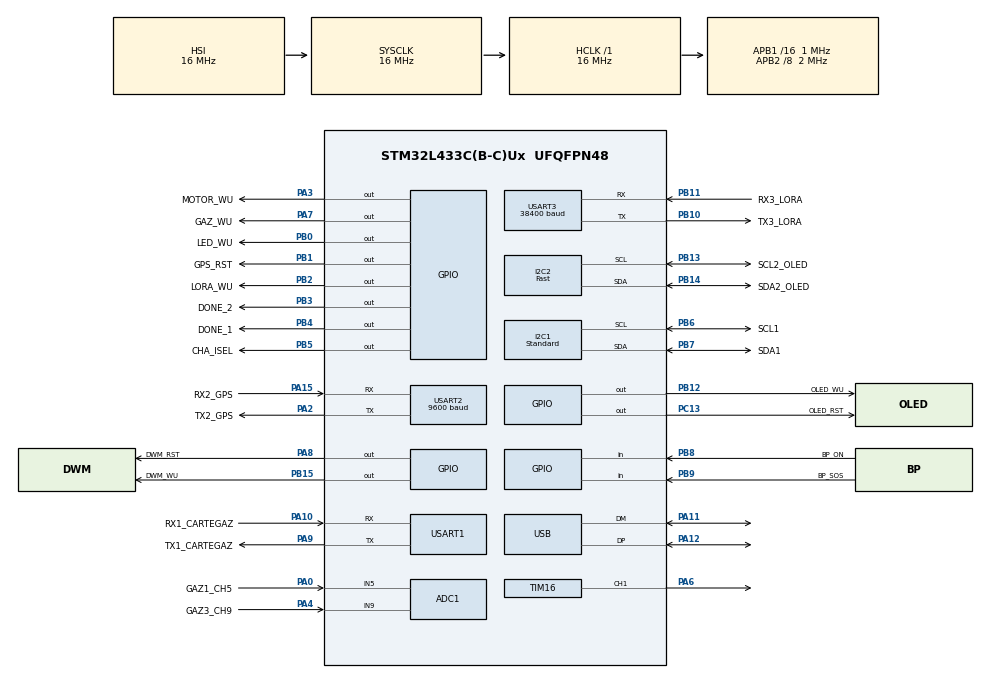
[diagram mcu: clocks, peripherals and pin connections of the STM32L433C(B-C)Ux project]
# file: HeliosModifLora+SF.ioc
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I2C1.I2C_Speed_Mode=I2C_Standard
PB10.Mode=Asynchronous
PB14.GPIO_Label=SDA2_OLED
PB6.GPIO_Label=SCL1
PA15\ (JTDI).Signal=USART2_RX
PC15-OSC32_OUT\ (PC15).Mode=LSE-External-Oscillator
PB13.Signal=I2C2_SCL
RCC.SYSCLKSource=RCC_SYSCLKSOURCE_HSI
PC14-OSC32_IN\ (PC14).Mode=LSE-External-Oscillator
NVIC.DMA1_Channel3_IRQn=true\:0\:0\:false\:false\:true\:false\:true
USART3.VirtualMode-Asynchronous=VM_ASYNC
PA14\ (JTCK-SWCLK).Signal=SYS_JTCK-SWCLK
PA15\ (JTDI).Mode=Asynchronous
USART3.BaudRate=38400
I2C2.I2C_Speed_Mode=I2C_Fast
RCC.APB2TimFreq_Value=4000000
PB6.Signal=I2C1_SCL
PB12.PinState=GPIO_PIN_SET
PB6.Mode=I2C
Dma.USART2_RX.2.Priority=DMA_PRIORITY_LOW
Dma.USART1_RX.1.PeriphDataAlignment=DMA_PDATAALIGN_BYTE
PB2.Signal=GPIO_Output
PB12.GPIO_Label=OLED_WU
PB14.Mode=I2C
PB1.GPIO_Label=GPS_RST
PA8.Signal=GPIO_Output
PA8.GPIO_ModeDefaultOutputPP=GPIO_MODE_OUTPUT_PP
PB2.GPIO_PuPd=GPIO_PULLDOWN
ADC1.SamplingTime-0\#ChannelRegularConversion=ADC_SAMPLETIME_247CYCLES_5
TIM16.Pulse=5
PA0.Signal=ADCx_IN5
Dma.USART1_RX.1.Mode=DMA_CIRCULAR
Mcu.Package=UFQFPN48
PB9.Signal=GPIO_Input
PB1.Signal=GPIO_Output
PA10.Signal=USART1_RX
PB9.GPIO_PuPd=GPIO_PULLUP
Dma.USART2_RX.2.Direction=DMA_PERIPH_TO_MEMORY
SH.ADCx_IN9.0=ADC1_IN9,IN9-Single-Ended
Dma.USART1_RX.1.PeriphInc=DMA_PINC_DISABLE
PB5.GPIO_Speed=GPIO_SPEED_FREQ_HIGH
RCC.APB2CLKDivider=RCC_HCLK_DIV8
RCC.APB1TimFreq_Value=2000000
PB13.Mode=I2C
TIM16.Prescaler=100-1
PA13\ (JTMS-SWDIO).Signal=SYS_JTMS-SWDIO
NVIC.USART1_IRQn=true\:3\:0\:true\:false\:true\:true\:true
PH0-OSC_IN\ (PH0).Mode=HSE-External-Oscillator
PA4.GPIO_Label=GAZ3_CH9
RCC.HSI48_VALUE=48000000
Dma.USART3_RX.0.Instance=DMA1_Channel3
NVIC.DMA1_Channel6_IRQn=true\:0\:0\:false\:false\:true\:false\:true
Dma.USART1_RX.1.Instance=DMA1_Channel5
Dma.USART1_RX.1.MemDataAlignment=DMA_MDATAALIGN_BYTE
ADC1.Rank-0\#ChannelRegularConversion=1
ADC1.OffsetNumber-0\#ChannelRegularConversion=ADC_OFFSET_NONE
PC13.Signal=GPIO_Output
PA9.GPIO_Label=TX1_CARTEGAZ
PB8.GPIO_PuPd=GPIO_PULLUP
PB11.GPIO_Label=RX3_LORA
SH.S_TIM16_CH1.0=TIM16_CH1,PWM Generation1 CH1
VP_TIM16_VS_ClockSourceINT.Mode=Enable_Timer
RCC.APB1CLKDivider=RCC_HCLK_DIV16
PB3\ (JTDO-TRACESWO).GPIO_PuPd=GPIO_NOPULL
USART2.BaudRate=9600
Dma.USART2_RX.2.Mode=DMA_CIRCULAR
PB8.GPIO_Label=BP_ON
PA8.GPIO_Label=DWM_RST
PB11.Mode=Asynchronous
PA9.Signal=USART1_TX
I2C1.Timing=0x00000103
PB10.Signal=USART3_TX
PB14.Signal=I2C2_SDA
PB15.GPIO_Label=DWM_WU
PA4.Signal=ADCx_IN9
PB5.Signal=GPIO_Output
ADC1.master=1
PA11.Signal=USB_DM
ProjectManager.HeapSize=0x800
SH.ADCx_IN5.0=ADC1_IN5,IN5-Single-Ended
NVIC.PriorityGroup=NVIC_PRIORITYGROUP_4
Dma.USART1_RX.1.Direction=DMA_PERIPH_TO_MEMORY
PB4\ (NJTRST).GPIO_Label=DONE_1
PB12.GPIO_PuPd=GPIO_PULLUP
PB0.Signal=GPIO_Output
PB4\ (NJTRST).GPIO_PuPd=GPIO_NOPULL
Mcu.Family=STM32L4
NVIC.USART3_IRQn=true\:1\:0\:true\:false\:true\:true\:true
Dma.USART2_RX.2.PeriphDataAlignment=DMA_PDATAALIGN_BYTE
USB_DEVICE.CLASS_NAME_FS=DFU
Dma.USART3_RX.0.PeriphInc=DMA_PINC_DISABLE
RCC.CortexFreq_Value=16000000
NVIC.DMA1_Channel5_IRQn=true\:0\:0\:false\:false\:true\:false\:true
NVIC.USB_IRQn=true\:0\:0\:false\:false\:true\:false\:true
ADC1.ContinuousConvMode=ENABLE
PH0-OSC_IN\ (PH0).Signal=RCC_OSC_IN
VP_IWDG_VS_IWDG.Mode=IWDG_Activate
I2C2.Timing=0x00000000
PA0.GPIO_Label=GAZ1_CH5
PB3\ (JTDO-TRACESWO).PinState=GPIO_PIN_RESET
PA11.Mode=Device
PB0.GPIO_Label=LED_WU
PC13.GPIO_Label=OLED_RST
PB13.GPIO_Label=SCL2_OLED
PB11.Signal=USART3_RX
PB15.Signal=GPIO_Output
VP_USB_DEVICE_VS_USB_DEVICE_DFU_FS.Mode=DFU_FS
ProjectManager.StackSize=0x800
PB3\ (JTDO-TRACESWO).Signal=GPIO_Output
VP_TIM7_VS_ClockSourceINT.Mode=Enable_Timer
USB_DEVICE.MANUFACTURER_STRING=HESTIAM 
PA12.Signal=USB_DP
PB1.GPIO_PuPd=GPIO_PULLUP
RCC.HCLKFreq_Value=16000000
TIM7.Period=4000-1
Dma.USART2_RX.2.MemDataAlignment=DMA_MDATAALIGN_BYTE
Dma.USART1_RX.1.MemInc=DMA_MINC_ENABLE
RCC.AHBFreq_Value=16000000
ADC1.Channel-0\#ChannelRegularConversion=ADC_CHANNEL_9
PH1-OSC_OUT\ (PH1).Mode=HSE-External-Oscillator
RCC.HSE_VALUE=8000000
Dma.USART3_RX.0.MemDataAlignment=DMA_MDATAALIGN_BYTE
USART2.VirtualMode-Asynchronous=VM_ASYNC
PA10.GPIO_Label=RX1_CARTEGAZ
Dma.USART3_RX.0.PeriphDataAlignment=DMA_PDATAALIGN_BYTE
PC13.GPIO_PuPd=GPIO_PULLDOWN
PB7.Signal=I2C1_SDA
PB1.PinState=GPIO_PIN_SET
PB7.GPIO_Label=SDA1
Dma.USART3_RX.0.Direction=DMA_PERIPH_TO_MEMORY
PA6.Signal=S_TIM16_CH1
PA2.GPIO_Label=TX2_GPS
RCC.HSI14CalibrationValue=16
IWDG.Reload=3750
Dma.USART3_RX.0.MemInc=DMA_MINC_ENABLE
PB4\ (NJTRST).GPIO_ModeDefaultOutputPP=GPIO_MODE_OUTPUT_PP
PB5.GPIO_Label=CHA_ISEL
Dma.Request2=USART2_RX
TIM16.AutoReloadPreload=TIM_AUTORELOAD_PRELOAD_DISABLE
Dma.Request1=USART1_RX
RCC.CK48CLockSelection=RCC_USBCLKSOURCE_HSI48
Dma.USART1_RX.1.Priority=DMA_PRIORITY_LOW
Dma.Request0=USART3_RX
NVIC.TIM7_IRQn=true\:0\:0\:false\:false\:true\:true\:true
RCC.PLLSAI1R=RCC_PLLR_DIV8
PA8.PinState=GPIO_PIN_RESET
RCC.PLLSAI1Q=RCC_PLLQ_DIV8
RCC.PLLSAI1N=16
PA3.Signal=GPIO_Output
RCC.MSI_VALUE=4000000
PB9.GPIO_Label=BP_SOS
PA10.Mode=Asynchronous
USB_DEVICE.VirtualModeFS=Dfu_FS
ADC1.DiscontinuousConvMode=DISABLE
PC15-OSC32_OUT\ (PC15).Signal=RCC_OSC32_OUT
PB3\ (JTDO-TRACESWO).GPIO_Label=DONE_2
TIM16.Channel=TIM_CHANNEL_1
NVIC.USART2_IRQn=true\:2\:0\:true\:false\:true\:true\:true
PH1-OSC_OUT\ (PH1).Signal=RCC_OSC_OUT
Dma.USART3_RX.0.Mode=DMA_CIRCULAR
USART1.VirtualMode-Asynchronous=VM_ASYNC
PA9.Mode=Asynchronous
Dma.USART2_RX.2.MemInc=DMA_MINC_ENABLE
ProjectManager.TargetToolchain=STM32CubeIDE
PB10.GPIO_Label=TX3_LORA
ADC1.EnableAnalogWatchDog1=false
RCC.USBFreq_Value=48000000
USB_DEVICE.LANGID_STRING=1036
TIM7.Prescaler=5-1
board=custom
RCC.VCOOutputFreq_Value=64000000
Dma.USART2_RX.2.PeriphInc=DMA_PINC_DISABLE
TIM16.Period=10-1
RCC.APB2Freq_Value=2000000
RCC.ADCFreq_Value=8000000
ADC1.NbrOfConversion=1
PA15\ (JTDI).GPIO_Label=RX2_GPS
Mcu.Name=STM32L433C(B-C)Ux
PA2.Signal=USART2_TX
RCC.SYSCLKFreq_VALUE=16000000
Dma.USART3_RX.0.Priority=DMA_PRIORITY_HIGH
USART1.OverSampling=UART_OVERSAMPLING_16
PA7.GPIO_Label=GAZ_WU
PA12.Mode=Device
USART1.AutoBaudRateEnableParam=UART_ADVFEATURE_AUTOBAUDRATE_DISABLE
Dma.USART2_RX.2.Instance=DMA1_Channel6
PC14-OSC32_IN\ (PC14).Signal=RCC_OSC32_IN
PB7.Mode=I2C
PB2.GPIO_Label=LORA_WU
RCC.HSI_VALUE=16000000
PA8.GPIO_PuPd=GPIO_PULLDOWN
NVIC.TIM1_UP_TIM16_IRQn=true\:1\:0\:true\:false\:true\:true\:true
ADC1.NbrOfConversionFlag=1
RCC.PLLN=16
IWDG.Prescaler=IWDG_PRESCALER_128
PA2.Mode=Asynchronous
PB8.Signal=GPIO_Input
RCC.APB1Freq_Value=1000000
USB_DEVICE.VirtualMode=Dfu
ADC1.ClockPrescaler=ADC_CLOCK_ASYNC_DIV8
PB12.Signal=GPIO_Output
PB0.GPIO_PuPd=GPIO_PULLDOWN
PA3.GPIO_Label=MOTOR_WU
PA7.Signal=GPIO_Output
PB4\ (NJTRST).Signal=GPIO_Output

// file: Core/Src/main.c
/* USER CODE BEGIN Header */
/**
 ******************************************************************************
 * @file           : main.c
 * @brief          : Main program body
 ******************************************************************************
 * @attention
 *
 * <h2><center>&copy; Copyright (c) 2020 STMicroelectronics.
 * All rights reserved.</center></h2>
 *
 * This software component is licensed by ST under BSD 3-Clause license,
 * the "License"; You may not use this file except in compliance with the
 * License. You may obtain a copy of the License at:
 *                        opensource.org/licenses/BSD-3-Clause
 *
 ******************************************************************************

 Universal Helios Code for Helios V2 (H3)   v21p3
 */

#define	BOX4GAZSN  3

#define WHILEON 1 // !! IF 0 no while(1)  / for developpement purpose only

#define SEC_DETECT_MALAISE 600 //000
#define SEC_DETECT_IMMO 900

//#define ping_lorawan

#define LTAB 5
#define LTABD 4

/* USER CODE END Header */
#include "main.h"
#include "adc.h"
#include "dma.h"
#include "i2c.h"
#include "iwdg.h"
#include "tim.h"
#include "usart.h"
#include "usb_device.h"
#include "gpio.h"

/* USER CODE BEGIN Includes */

// for GPS
uint8_t y_full[400];
uint16_t ar_full[400];
uint16_t arr[400];
uint8_t yy[400];
uint8_t REBOOT_FROM_WATCHDOG = 0;

uint32_t timeBeforeDMA_SF = 10 * 1000;
uint8_t dma_sf_once = 0;

//permet d'afficher un message d'alerte
uint8_t seuil_H2S = AUCUN;
uint8_t seuil_O2 = AUCUN;
uint8_t seuil_CO = AUCUN;
uint8_t seuil_EX = AUCUN;

uint32_t millis = 0;
uint32_t time_network_rep = 0;
uint8_t nb_parametre = 15;
uint32_t last_vib = 0;

uint8_t batt_20 = 0;
uint8_t batt_15 = 0;
uint8_t batt_10 = 0;
uint8_t batt_5 = 0;
uint32_t low_bat_shutdown = 0;

uint16_t accres;
uint16_t accy;
uint8_t once_rak = 1;
uint8_t once_gps = 1;
uint8_t once_nem = 1;

uint8_t USB_ON = 0;

HAL_StatusTypeDef I2C1_OK = HAL_OK;

uint8_t network_state = 0;

float H2SAdc = 0;

uint8_t ping_rep_ok = 0;

#include "../Lib/hes_gpio_h3.h"
#include "../Lib/hes_bms.h"
#include "../Lib/hes_charger.h"
#include "../Lib/hes_fall.h"
#include "../Lib/hes_fonts.h"
#include "../Lib/hes_gps.h"
#include "../Lib/hes_imu.h"
#include "../Lib/hes_fct_screen.h"
#include "../Lib/hes_led.h"
#include "../Lib/hes_powersave.h"
#include "../Lib/hes_screen.h"
#include "../Lib/hes_sequencer.h"
#include "../Lib/hes_task.h"
#include "../Lib/hes_uint82bitint.h"
#include "../Lib/hes_buzvib.h"
#include "../Lib/hes_sigfoxlora.h"
#include "../Lib/dwm_api.h"
#include "../Lib/dwm1001_tlv.h"
#include "../Lib/lis2dh12_reg.h"
#include "../Lib/hes_fct.h"
#include "../Lib/hes_uart_CarteGaz.h"
//#include "../Lib/dco_display.h"
//#include "../Lib/dco_fonts.h"
//#include "../Lib/eeprom_emul.h"
//#include "../Lib/eeprom_flash.h"
#include "../Lib/hes_ee.h"

uint8_t count_gaz = 0;
uint16_t gaz1_level[NB_SAMPLES_GAZ];
uint16_t gaz2_level[NB_SAMPLES_GAZ];
uint32_t gaz1_level_mean = 0;
uint32_t gaz1_ppm = 0;
uint32_t gaz2_level_mean = 0;
uint32_t gaz2_ppm = 0;
uint8_t gaz_alert_phase = 0;
uint8_t Calibration_Time_Over = 0;

uint8_t GAZ_THRESHOLD_ALERT = 0;

uint8_t DUAL_STATE_LS = NO_ACK_PENDING;

unsigned char pChar1;
unsigned char pChar2;
unsigned char pChar3;

char msg_Lora[20];

uint8_t Rx_RAK811[MAXITRAK];
uint8_t Rx_bufferRAK811[MAXITRAK];

uint8_t Rx_datagps[MAXITGPS];
uint8_t Rx_Buffergps[MAXITGPS];

uint8_t Rx_Nemeus[MAXITNEMEUS];
uint8_t Rx_bufferNemeus[MAXITNEMEUS];

uint8_t Rx_data1004[MAX_1004];

uint8_t Rx_WIFI[MAXITWIFI];

char WifiName[30];

float acc[4];

__IO uint32_t ErasingOnGoing = 0;

uint8_t batteryLevel = 0;
uint8_t status_GPS = 0;
uint8_t status_Network = 0;
uint8_t alerte = 0;
uint8_t son = 0;
uint8_t extinction = 0;
uint8_t warrning = 0;
uint8_t danger = 0;
uint8_t cnt_uart1_buffer = 0;
uint8_t cnt_uart2_buffer = 0;
uint8_t cnt_uart3_buffer = 0;
uint8_t USB_In_Event = 0;

uint16_t every_100ms = 0;

uint32_t time_cnt = 2000;  // 2000 = 20 seconds

u8g2_t u8g2;

uint8_t GA_Nem = 0;

int type_buz_alert = 3;
int i_buz = 0; //del
int i_buz2 = 0; //del
int i_led = 0;

int i_read_button = 0;

uint8_t buffer6[6];
uint16_t ar[400];
uint8_t y[400];

uint16_t i = 0;

uint32_t tab_ADC_value[7];

uint32_t count_tim7 = 0;
uint8_t IT100HZ = 1;

uint8_t count_nb_join = 0;
uint8_t vib_only_once_cnt = 0;
uint8_t IMU_nodata = 0;

/*!--------DCO AJOUT----------------!*/
uint8_t ready = 0;
uint8_t BiGaz_ON = 0;

/*!------ END DCO AJOUT-----------!*/

volatile uint8_t Flag[NB_FLAG];
int TabGen[NB_GEN];
int TabDist[MAX_TAB_DIST];
int distCnt = 0;
int TabAlert[NB_ALERT];
uint32_t TabTimer[NB_TIMER];
float TabFloatValue[NB_FLOATVALUE];
uint32_t TabAlertAll[NB_ALLTIMER];

uint32_t AskJoinTimeLoraWan = 0;
uint32_t CheckLoraWanStatus = 0;
uint32_t CheckWifi = 0;
uint32_t alertBat = 0;
uint32_t TimeBeforeSFSent = 0;

/* USER CODE END Includes */

void SystemClock_Config(void);

int main(void)
{
  /* USER CODE BEGIN 1 */
	//EE_Status ee_status = EE_OK;
	int powersave = 0;

	uint32_t upperLedTab[LTAB + 2]; // Tab[0]  <= 1 for ON or 0 for OFF
	upperLedTab[LTABD + 1] = 20;		// dt1 before task 1
	upperLedTab[LTABD + 2] = 9980;	// dt2 after	task 1
	InitTaskState(upperLedTab, 2);

	uint32_t sosTab[LTAB + 1]; // Tab[0] <= 1 for ON or 0 for OFF
	sosTab[LTABD + 1] = 10;		// dt1 before task 1
	InitTaskState(sosTab, 1);

	// for REGAZ
	uint32_t ScreenTab[LTAB + 3]; // Tab[0] <= 1 for ON or 0 for OFF
	ScreenTab[LTABD + 1] = 50;	 // dt1 before task 1
	ScreenTab[LTABD + 2] = 300;	 // dt1 before task 2
	ScreenTab[LTABD + 3] = 50;	 // dt1 before task 3
	InitTaskState(ScreenTab, 3);

	uint32_t BatTab[LTAB + 1]; // Tab[0] <= 1 for ON or 0 for OFF
	BatTab[LTABD + 1] = 5000;		 // dt1 before task 1
	InitTaskState(BatTab, 1);

	uint32_t chargerTab[LTAB + 1]; // Tab[0] <= 1 for ON or 0 for OFF
	chargerTab[LTABD + 1] = 500;		// dt1 before task 1     // EJ : was 500
	InitTaskState(chargerTab, 1);

	uint32_t updateLedTab[LTAB + 1]; // Tab[0] <= 1 for ON or 0 for OFF
	updateLedTab[LTABD + 1] = 100;	 // dt1 before task 1
	InitTaskState(updateLedTab, 1);

	uint32_t Timer_screen;
	uint32_t TimerLastLoraMessage 	= 0 ;
	uint32_t TimerLastSigfoxMessage = 0 ;

	/*!-----DCO AJOUT----!*/
	// Pour la communication UART avec la carte Fille *
	/*!--------DCO AJOUT----------------!*/

	/*!------ END DCO AJOUT-----------!*/

	/*!-----DCO AJOUT----!*/

	/*!-----END DCO AJOUT----!*/

	/*!--------DCO AJOUT----------------!*/

	for (int i_fct = 0; i_fct < NB_ALERT; i_fct++)
	{
		TabAlert[i_fct] = 0;
	}
	for (int i_fct = 0; i_fct < NB_GEN; i_fct++)
	{
		TabGen[i_fct] = 0;
	}
	for (int i_fct = 0; i_fct < NB_TIMER; i_fct++)
	{
		TabTimer[i_fct] = 0;
	}
	for (int i_fct = 0; i_fct < NB_FLOATVALUE; i_fct++)
	{
		TabFloatValue[i_fct] = 0;
	}
	for (int i_fct = 0; i_fct < MAX_TAB_DIST; i_fct++)
	{
		TabDist[i_fct] = 0;
	}
	for (int i_fct = 0; i_fct < MAX_TAB_DIST; i_fct++)
	{
		Rx_bufferNemeus[i_fct] = 0;
	}
	TabGen[NMAXS_MALAISE] = SEC_DETECT_MALAISE * 100; // duration of malaise on sample (100 Hz) x [s] ;
	TabGen[NMAXS_IMMO] = SEC_DETECT_IMMO * 100; // duration of immo on sample (100 Hz) x [s] ;
	TabGen[NMAXS_FALL] = SEC_DETECT_FALL * 100; // duration of fall on sample (100 Hz) x [s] ;
	TabGen[FALL_COND_2] = 1;
	TabGen[GPS_START_IT] = 1;
	TabGen[TYPE_ALERT] = NONE_ALERT;

	TabGen[BAT_VALUE] = 100;
	TabGen[SCREENSTATE] = 1;

	//TabGirlBoardTimer[GIRL_TIM_READY_OUT] = 1 ;

  /* USER CODE END 1 */

  /* MCU Configuration--------------------------------------------------------*/

  /* Reset of all peripherals, Initializes the Flash interface and the Systick. */
  HAL_Init();

  /* Configure the system clock */
  SystemClock_Config();

  /* USER CODE BEGIN SysInit */
	/* Enable and set FLASH Interrupt priority */
	/* FLASH interrupt is used for the purpose of pages clean up under interrupt */

	/* Unlock the Flash Program Erase controller */

	/* Enable Power Control clock */

	/*!--------DCO AJOUT----------------!*/

	/*!------ END DCO AJOUT-----------!*/

  /* USER CODE END SysInit */

  /* Initialize all configured peripherals */

  /* USER CODE BEGIN 2 */
	MX_GPIO_Init();

	if (InSOS() == 1 && bootloader(3) == 1)
	{
		GPIO_InitTypeDef GPIO_InitStruct = { 0 };
		OutMotorWu(0);
		USB_DFU();
		OutDone1(0); //Stop Powersave part 1
		OutDone2(1); //Stop Powersave part 2

		/*Configure GPIO pins : PAPin PAPin */
		MX_I2C1_Init();
		LedOn(0, 100, 100, TabGen);
		//OutMotorWu(0);
		HAL_GPIO_DeInit(GPIOA, MOTOR_WU_Pin);
		__HAL_RCC_GPIOA_CLK_ENABLE();

		jumpToBootloader();
	}
	else
	{
		HAL_MspInit();
		MX_DMA_Init();
		MX_I2C1_Init();
		MX_I2C2_Init();
		if(RAK811 == 1)
			MX_USART1_UART_Init();

		MX_USART2_UART_Init();

		if(SIGFOXOK == 1 || LORAWANOK == 1)
			MX_USART3_UART_Init();
		MX_TIM7_Init();  // clock timer - IMU
		MX_TIM16_Init(); // PWM buzzer
		MX_IWDG_Init();
		if(BiGaz_ON == 1)
			MX_ADC1_Init();
		//Hes_USB_Config_Mode();

	}
  /* USER CODE END 2 */

  /* Infinite loop */
  /* USER CODE BEGIN WHILE */
	//HAL_GPIO_WritePin(GAZ_WU_GPIO_Port, GAZ_WU_Pin, GPIO_PIN_SET);
	OuChaIsel(0);

	// NO DONE SIGNAL -> keep power until t_DRV or wait for On button pushed in Powersave()
	OutDone1(0); //Stop Powersave part 1 // PB4 - DONE
	OutDone2(1); //Stop Powersave part 2 // PB3 - DRV
	HAL_Delay(1);
	OutLedWu(1);

	TabGen[GPS_DURATION] = 10;

	LedChargeIndic(TabGen);

	if (RCC->CSR & 1 << RCC_CSR_IWDGRSTF_Pos)
	{

		__HAL_RCC_CLEAR_RESET_FLAGS();
		OutDone1(0); //Stop Powersave part 1 // PB4 - DONE
		OutDone2(1); //Stop Powersave part 2 // PB3 - DRV

		REBOOT_FROM_WATCHDOG = 1;
	}
	else
		powersave = PowerSave();
	//RCC_GetFlagStatus(RCC_FLAG_IWDGRST);

	//LBL
	default_value();

	Load_configuration_value();

	if (powersave == 0)
	{

		HAL_Delay(2);
		LedOn(0, 0, 50, TabGen);

#ifndef debug_sound_vibration

		if (REBOOT_FROM_WATCHDOG == 0)
			PowerBuzVib(100);

#endif

	}

	HAL_TIM_Base_Start_IT(&htim7);

	ScreenOn();

	display_Init(!REBOOT_FROM_WATCHDOG);

	if (BOX4GAZ == 1)
	{
		HAL_GPIO_WritePin(GAZ_WU_GPIO_Port, GAZ_WU_Pin, GPIO_PIN_RESET);
	}

	if (GPSOK == 0)
	{
		GpsStop();

	}
	else
	{
		TabGen[GPS_ON] = 1;
	}

	// IMU INITIALISATION

	Init_IMU();

	/*!--------DCO AJOUT----------------!*/

#ifdef DWM1001C
	OutDwmRst(0);
	OutDwmWu(0);
#endif
	if (RAK811 == 1)
	{
		OutDwmRst(0);
		OutDwmWu(0);
	}

	I2C1_OK = HAL_OK;
	if (I2C1_OK == HAL_OK)
		TaskCharger(TabGen);

	if(TabGen[CHARGEC] == 1)
	{
		USB_ON = 1;
		Hes_USB_Config_Mode();
	}

	//TaskReadBat(TabGen);
	//HAL_Delay(100);
	if (I2C1_OK == HAL_OK)
		TaskReadBat(TabGen);

	/*!--------DCO AJOUT----------------!*/

	if (SUEZ == 0)
	{
		WakeUpNemeusLS();
		RebootNemeusLS(TabGen);

		if (SIGFOXOK == 1 && TabGen[SIGFOX_STATE] == 0 && LORAWANOK == 0)
		{
			SigfoxOn();
			TimerLastSigfoxMessage = HAL_GetTick();
			TabGen[SIGFOX_STATE] = 1;
			SendOnMessSigfox(!REBOOT_FROM_WATCHDOG);
			DUAL_STATE_LS = ACK_SF_PENDING;
		}
		else if (LORAWANOK == 1)
		{
			if (SIGFOXOK == 1)
				SigfoxOn();
			HAL_Delay(1000);

			LoraWanOn();

			AskJoinTimeLoraWan = HAL_GetTick();
			TabGen[LORAWAN_STATE] = LW_WAIT_JOIN;
			DUAL_STATE_LS = LW_JOIN_PENDING;
		}
		TimerLastSigfoxMessage = HAL_GetTick();
	}

	if (LORAP2POK == 1)
	{
		if (RAK811 == 1)
		{
			HAL_UART_Receive_DMA(&huart1, Rx_RAK811, MAXITRAK);
			OutDwmRst(1);
			HAL_Delay(500);

			if (REBOOT_FROM_WATCHDOG == 0)
			{
				EnableLoraSend811();
				SendTestLora811();
			}
			EnableLoraReceive811();
		}
		else
		{

			if (REBOOT_FROM_WATCHDOG == 0)
			{
				SendTestLora();
				ContinuousRxLora();
			}
		}
	}

//	if (BiGaz_ON == 1)
//		OutGazWu(1); //  command for the gaz board (switch on the power supply), board directly connect to 3.3V for now (03/05/21) problem with MOSFET
//

	HAL_TIM_Base_Start_IT(&htim7);
	HAL_Delay(1);
	if (GPSOK == 1)
	{
		TabGen[GPS_ON] = 1;
	}
	Timer_screen = HAL_GetTick();

	timeBeforeDMA_SF = HAL_GetTick();

	if (WIFI == 1)
	{
		//SendMessWifi("ATE0\r\n");
		SendMessWifi("AT+CWLAP\r\n"); // CHANGE SPEED !!!!!!!!!!!!!!!!!!!!!!!!!!!!!!!!!!!!!!!!!!!!!!!!!!!!!!!!!!!!!!!!!!!!!!!!!!!!!!!!!!!!!!!!!!!!!!!!!!
		TabGen[RSSI_BEST_WIFI] = -200;
		sprintf(WifiName, "%s", "NoName");
		CheckWifi = HAL_GetTick();
		alertBat = HAL_GetTick();
		//WifiName "NoName";
	}

	if (DMA_GPS_ON == 1)
	{
		HAL_UART_Receive_DMA(&huart2, Rx_datagps, MAXITGPS);
	}
	else if (SUEZ == 0)
		HAL_UART_Receive_IT(&huart2, &pChar2, 1); // gps

	if (DMA_RAK_ON == 1)
	{
		HAL_UART_Receive_DMA(&huart1, Rx_RAK811, MAXITRAK);
	}

	if (DMA_NEMEUS_ON == 1)
	{
		HAL_UART_Receive_DMA(&huart3, Rx_Nemeus, MAXITNEMEUS);
	}

#ifndef debug_sound_vibration
	if (REBOOT_FROM_WATCHDOG == 0)
		PowerBuzVib(100);
#endif

	/* ----------------------------------WHILE BEGIN---------------------------------------------*/

	while (1)
	{

		uint32_t Time_Now = HAL_GetTick();
		millis = HAL_GetTick();
//		if (millis % 5 == 0)
//			HAL_PWR_EnterSLEEPMode(PWR_MAINREGULATOR_ON, PWR_SLEEPENTRY_WFI);

		HAL_IWDG_Refresh(&hiwdg);

		if (SUEZ == 1 || WIFI == 1)
			HAL_UART_Receive_IT(&huart1, &pChar1, 1);  // 1004

		if (SUEZ == 1)
		{
			ComputeAdcH2S(TabFloatValue, H2SAdc, TabAlertAll, TabGen);
			//ComputeAdc(TabFloatValue,O2Adc,COadc,ExAdc,H2SAdc,DBAdc,TabAlertAll,TabGen);
			ComputeAlerteGaz(TabAlert, TabFloatValue);
		}

// ##########################GPS################################################

		if (TabGen[GPS_GOOD] == 1)
		{
			if (millis - TabTimer[LAST_UPDATE_GPS] < 15 * 60 * 1000)
				TabGen[GPS_DURATION] = GPSDURA;
		}

		if (GPSOK == 1) // GPS IS ENABLED
		{
			GPS_Management();
		}

// ########################## GPS END ################################################

// ########################## MESSAGE MANAGEMENT #####################################

		Task_Gaz();

		if (SUEZ == 1 && TabGen[DISTANCE_DETECTED] == 1)
			TabGen[DISTANCE_DETECTED] = 0;

		if (WIFI == 1)
		{
			if ((millis - CheckWifi) > 10 * 1000)
			{
				SendMessWifi("AT+CWLAP\r\n");
				TabGen[RSSI_BEST_WIFI] = -200;
				//BuildMessWifi(bufferWifi, TabGen, TabFloatValue,  TabTimer, WifiName);
				CheckWifi = HAL_GetTick();
			}
		}
		if (LORAP2POK == 1)
		{
			TaskSendLoraNoGPS(TabGen, TabFloatValue, TabTimer);
		}

		if (LORAWANOK == 1)
		{ 	// RSSI MANAGEMENT
			if ((DUAL_STATE_LS == NO_ACK_SF_RETRY) || // Downlink failed for sigfox, try again
					(((HAL_GetTick() - AskJoinTimeLoraWan) > 1 * 15 * 1000)
							&& (DUAL_STATE_LS == SF_DELAY_ON)) || // If Lora with ACK ok -> Sigfox msg in 10 seconds
					(((HAL_GetTick() - AskJoinTimeLoraWan) > 1 * 30 * 1000)
							&& ((DUAL_STATE_LS == ACK_LORA_PENDING)
									|| (DUAL_STATE_LS == LW_JOIN_PENDING)))) // If Lora with ACK not ok 30 seconds after start, Sigfox msg
			{
				//TIME TO SEND SIGFOX ON MESSQGE TO GET RSSI
				if (DUAL_STATE_LS == NO_ACK_SF_RETRY || DUAL_STATE_LS == LW_JOIN_PENDING)
				{
					RebootNemeusLS(TabGen);
					DUAL_STATE_LS = ACK_SF_PENDING_2;
					PowerVib(100);

					SigfoxOn();
				}
				else
					DUAL_STATE_LS = ACK_SF_PENDING;

				SendOnMessSigfox(1);

				AskJoinTimeLoraWan = HAL_GetTick();

			}

			if (((HAL_GetTick() - AskJoinTimeLoraWan) > 1 * 30 * 1000)
					&& (DUAL_STATE_LS == ACK_SF_PENDING_2))
			{ // WAITING FOR DL SIGFOX 2 BUT NEVER RECEIVED
				LoraWanOn();
				DUAL_STATE_LS = NO_ACK_PENDING;
			}

			if (TabGen[ALERT_PENDING] == 1 && TabGen[LORA_SEND] == 1)
			{
				TaskSendLoraWan(TabGen, TabFloatValue, TabTimer);
				//TimerLastLoraMessage = HAL_GetTick();
			}
		}

		if (TabGen[DUAL_SEND] == 1)
			TaskSendDUAL(TabGen, TabFloatValue, TabTimer, WifiName);

		if (SIGFOXOK == 1)
		{
			if (TabGen[ALERT_PENDING] == 1 && TabGen[SIGFOX_SEND] == 1)
				TaskSendSigfox(TabGen, TabFloatValue, TabTimer, WifiName);
		}

#ifdef ping_lorawan
		if (LORAWANOK == 1)
		{
			if ( (HAL_GetTick() - TimerLastLoraMessage) > 5 * 60 * 1000)
			{
				TabGen[LORA_SEND] = 1;
				TimerLastLoraMessage = HAL_GetTick();
			}
		}
		#endif

		// ########################## MESSAGE MANAGEMENT END ##############################

		if (USB_ON == 1)
			Task_USB_Configuration();

		TaskExtButton(TabGen);

		TaskFallTest(TabAlert, TabGen);

		if (HAL_GetTick()% 1000 == 1)
		{

		}

		if (HAL_GetTick()% 100 == 0)
		{
			TaskOnScreen(TabGen, &Timer_screen);

			TaskBigScreen(ScreenTab, TabAlert, TabGen, TabFloatValue, TabTimer, TabAlertAll, WifiName);

			TaskUpdateUpperLed(updateLedTab, TabGen);

			TaskLedBlinking(upperLedTab, TabGen);

			if (TabGen[CHARGEC] == 0)
				TaskAlertAll(TabAlert, TabGen, TabAlertAll, TabFloatValue);
		}

		Battery_Charger_Management();

		// EVERY 100 HZ
		if (Flag[F_100HZ] == 1)
		{

			Flag[F_100HZ] = 0;

			if (TabGen[ALERT_ON] == 0)
			{
				if (TabGen[LOCK_I2C1] == 0)  // check I2C1 is available
				{
					Measure_IMU(buffer6); // read 6x register of IMU

					TaskAlertAcc(accy, accres, TabAlert, TabGen); // check Alert for Malaise and Immo

					TaskFallManager(ar, y, accres, accy, TabGen);
				}
			}
		}

		if (LORAP2POK == 1)
		{
			if (DMA_RAK_ON == 1)
			{
				if (Time_Now % 1000 == 0 && once_rak == 1)
				{
					once_rak = 0;
					uint8_t i = 0;
					uint8_t buffer[MAXITRAK] =
					{ 0 };

					for (int cnt = 0; cnt < MAXITRAK; cnt++)
						buffer[cnt] = Rx_RAK811[cnt];

					//strcpy(buffer, Rx_RAK811);
					while (i < MAXITRAK)
					{
						if (buffer[i] == 'a')
						{
							uint8_t y = 0;
							Rx_bufferRAK811[y++] = buffer[i++];

							for (y; y < MAXITRAK; y++)
							{
								if (buffer[i] != '\r')
								{
									if (i == MAXITRAK && y < MAXITRAK)
										i = 0; // wrapping the circular buffer

									Rx_bufferRAK811[y] = buffer[i++];
								}
								else
								{
									for (y; y < MAXITRAK; y++)
									{
										Rx_bufferRAK811[y] = 0;
									}
									i = MAXITRAK;
									y = MAXITRAK;
								}
							}
						}
						i++;
					}
					Task_Read_Incoming_Rak();
				}
				else
					once_rak = 1;
			}
			Repeater_Link_Management();
		}

		if (DMA_GPS_ON == 1 && GPSOK == 1)
		{
			uint8_t buffer[MAXITGPS] =
			{ 0 };
			if (Time_Now % 1000 == 0 && once_gps == 1)
			{
				once_gps = 0;
				uint8_t i = 0;
				for (uint8_t y = 0; y < MAXITGPS; y++)
				{
					buffer[y] = Rx_datagps[y];
				}

				while (i < MAXITGPS)
				{
					if (buffer[i] == '$')
					{
						uint8_t y = 0;
						Rx_Buffergps[y++] = buffer[i++];

						for (y; y < MAXITGPS; y++)
						{
							if (buffer[i] != '\r')
							{
								if (i == MAXITGPS && y < MAXITGPS)
									i = 0; // wrapping the circular buffer

								Rx_Buffergps[y] = buffer[i++];
							}
							else
							{
								for (y; y < MAXITGPS; y++)
								{
									Rx_Buffergps[y] = 0;
									i = MAXITGPS;
								}
							}
						}
					}
					i++;
				}
				TaskGPS(Rx_Buffergps, TabGen, TabTimer, TabFloatValue);

				for (uint8_t y = 0; y < MAXITGPS; y++)
				{
					Rx_datagps[y] = 0;
					Rx_Buffergps[y] = 0;
				}
			}
			else
				once_gps = 1;
		}

		if (DMA_NEMEUS_ON == 1)
		{
			uint8_t save_pos_start = MAXITNEMEUS;
			uint8_t save_pos_end = MAXITNEMEUS;
			uint8_t copy = 0;

			if (Time_Now % 1000 == 0 && once_nem == 1)
			{
				once_nem = 0;
				uint8_t i = 0;
				uint8_t buffer[MAXITNEMEUS] =
				{ 0 };
				for (uint8_t y = 0; y < MAXITNEMEUS; y++)
				{
					buffer[y] = Rx_Nemeus[y];
				}

				while (i < MAXITNEMEUS)
				{
					if (buffer[i] == '+')
					{
						if (((i < MAXITNEMEUS - 1) && (buffer[i + 1] == 'M'))
								|| ((i == MAXITNEMEUS - 1) && (buffer[0] == 'M')))
						{
							if (buffer[i + 6] == 'R' || buffer[i + 14] == ','
									|| GA_Nem == 1)
							{
								copy = 1;
								if (GA_Nem != 0)
									save_pos_start = i;
							}
						}

						if (((i < MAXITNEMEUS - 1) && (buffer[i + 1] == 'G'))
								|| ((i == MAXITNEMEUS - 1) && (buffer[0] == 'G')))
						{
							GA_Nem = 1;
							save_pos_start = i;
							if (i + 16 < 100 && buffer[i + 16] == '\r')
							{
								save_pos_end = i + 16;
							}
						}
					}
					if (buffer[i] == 'R')
					{
						if (buffer[i + 1] == 'R' || buffer[i - 1] == 'E')
						{
							if (buffer[i - 11] == 'S' && buffer[i - 10] == 'F')
							{
								//ERROR: End of SF Reception windows
								copy = 2;
								save_pos_start = i;
								if (DUAL_STATE_LS == ACK_SF_PENDING)
									DUAL_STATE_LS = NO_ACK_SF_RETRY;

							}
						}

						if (((i < MAXITNEMEUS - 1) && (buffer[i + 1] == 'C'))
								|| ((i == MAXITNEMEUS - 1) && (buffer[0] == 'C')))
						{
							copy = 1;
							i = i - 5;
							save_pos_start = i;
						}
					}

					if (copy == 1)
					{
						uint8_t y = 0;
						Rx_bufferNemeus[y++] = buffer[i++];

						for (y; y < MAXITNEMEUS; y++)
						{
							if (buffer[i] != '\r')
							{
								if (i == MAXITNEMEUS && y < MAXITNEMEUS)
									i = 0; // wrapping the circular buffer

								Rx_bufferNemeus[y] = buffer[i++];
							}
							else
							{
								save_pos_end = i;
								for (y; y < MAXITNEMEUS; y++)
								{
									Rx_bufferNemeus[y] = 0;
								}
								i = MAXITNEMEUS;
								y = MAXITNEMEUS;
							}
						}
					}
					i++;
				}
				if (copy == 1)
					Task_Read_Nemeus();

				if (copy == 1 || copy == 2)
				{
					for (uint8_t y = save_pos_start; y < save_pos_end; y++)
					{
						Rx_Nemeus[y] = 0;
					}
				}
			}
			else
				once_nem = 1;
		}
	}
	//}
    /* USER CODE END WHILE */

}

void SystemClock_Config(void)
{
  RCC_OscInitTypeDef RCC_OscInitStruct = {0};
  RCC_ClkInitTypeDef RCC_ClkInitStruct = {0};
  RCC_PeriphCLKInitTypeDef PeriphClkInit = {0};

  /** Configure LSE Drive Capability
  */
  HAL_PWR_EnableBkUpAccess();
  __HAL_RCC_LSEDRIVE_CONFIG(RCC_LSEDRIVE_LOW);
  /** Initializes the RCC Oscillators according to the specified parameters
  * in the RCC_OscInitTypeDef structure.
  */
  RCC_OscInitStruct.OscillatorType = RCC_OSCILLATORTYPE_HSI48|RCC_OSCILLATORTYPE_HSI
                              |RCC_OSCILLATORTYPE_LSI|RCC_OSCILLATORTYPE_LSE
                              |RCC_OSCILLATORTYPE_MSI;
  RCC_OscInitStruct.LSEState = RCC_LSE_ON;
  RCC_OscInitStruct.HSIState = RCC_HSI_ON;
  RCC_OscInitStruct.HSI48State = RCC_HSI48_ON;
  RCC_OscInitStruct.HSICalibrationValue = RCC_HSICALIBRATION_DEFAULT;
  RCC_OscInitStruct.LSIState = RCC_LSI_ON;
  RCC_OscInitStruct.MSIState = RCC_MSI_ON;
  RCC_OscInitStruct.MSICalibrationValue = 0;
  RCC_OscInitStruct.MSIClockRange = RCC_MSIRANGE_6;
  RCC_OscInitStruct.PLL.PLLState = RCC_PLL_NONE;
  if (HAL_RCC_OscConfig(&RCC_OscInitStruct) != HAL_OK)
  {
    Error_Handler();
  }
  /** Initializes the CPU, AHB and APB buses clocks
  */
  RCC_ClkInitStruct.ClockType = RCC_CLOCKTYPE_HCLK|RCC_CLOCKTYPE_SYSCLK
                              |RCC_CLOCKTYPE_PCLK1|RCC_CLOCKTYPE_PCLK2;
  RCC_ClkInitStruct.SYSCLKSource = RCC_SYSCLKSOURCE_HSI;
  RCC_ClkInitStruct.AHBCLKDivider = RCC_SYSCLK_DIV1;
  RCC_ClkInitStruct.APB1CLKDivider = RCC_HCLK_DIV16;
  RCC_ClkInitStruct.APB2CLKDivider = RCC_HCLK_DIV8;

  if (HAL_RCC_ClockConfig(&RCC_ClkInitStruct, FLASH_LATENCY_0) != HAL_OK)
  {
    Error_Handler();
  }
  PeriphClkInit.PeriphClockSelection = RCC_PERIPHCLK_USART1|RCC_PERIPHCLK_USART2
                              |RCC_PERIPHCLK_USART3|RCC_PERIPHCLK_I2C1
                              |RCC_PERIPHCLK_I2C2|RCC_PERIPHCLK_USB
                              |RCC_PERIPHCLK_ADC;
  PeriphClkInit.Usart1ClockSelection = RCC_USART1CLKSOURCE_PCLK2;
  PeriphClkInit.Usart2ClockSelection = RCC_USART2CLKSOURCE_PCLK1;
  PeriphClkInit.Usart3ClockSelection = RCC_USART3CLKSOURCE_PCLK1;
  PeriphClkInit.I2c1ClockSelection = RCC_I2C1CLKSOURCE_PCLK1;
  PeriphClkInit.I2c2ClockSelection = RCC_I2C2CLKSOURCE_PCLK1;
  PeriphClkInit.AdcClockSelection = RCC_ADCCLKSOURCE_PLLSAI1;
  PeriphClkInit.UsbClockSelection = RCC_USBCLKSOURCE_HSI48;
  PeriphClkInit.PLLSAI1.PLLSAI1Source = RCC_PLLSOURCE_MSI;
  PeriphClkInit.PLLSAI1.PLLSAI1M = 1;
  PeriphClkInit.PLLSAI1.PLLSAI1N = 16;
  PeriphClkInit.PLLSAI1.PLLSAI1P = RCC_PLLP_DIV7;
  PeriphClkInit.PLLSAI1.PLLSAI1Q = RCC_PLLQ_DIV8;
  PeriphClkInit.PLLSAI1.PLLSAI1R = RCC_PLLR_DIV8;
  PeriphClkInit.PLLSAI1.PLLSAI1ClockOut = RCC_PLLSAI1_ADC1CLK;
  if (HAL_RCCEx_PeriphCLKConfig(&PeriphClkInit) != HAL_OK)
  {
    Error_Handler();
  }
  /** Configure the main internal regulator output voltage
  */
  if (HAL_PWREx_ControlVoltageScaling(PWR_REGULATOR_VOLTAGE_SCALE1) != HAL_OK)
  {
    Error_Handler();
  }
  /** Enable MSI Auto calibration
  */
  HAL_RCCEx_EnableMSIPLLMode();
}

/* USER CODE BEGIN 4 */
// ISR function for Timer 7, every 10 ms
void HAL_TIM_PeriodElapsedCallback(TIM_HandleTypeDef *htim)
{

	if (htim->Instance == htim7.Instance)
	{

// loop control
		if (count_tim7 < time_cnt)    // 1000 = 10 seconds,  100 = 1 second
			count_tim7++;
		else
			count_tim7 = 0;

		if (count_tim7 % 10 == 2)
			every_100ms = 1; // not used

		if (count_tim7 == 400)      // every 20 seconds, 0 second after startup
		{
			if (BATTERYOK == 1)
				Flag[F_BATTERY] = 1;
		}
		else if (count_tim7 % 250 == +1) // every 20 seconds, 10 seconds after startup // 2
		{
			if (BATTERYOK == 1)
				Flag[F_CHARGER] = 1;
		}
//		else if (count_tim7 % 1000 == 2) // every 1 s
//		{
//			//SendMess("AT+MAC=?\n");
//			//SendMessLora();
//
//		}
		else
		{
			TaskButtonManager(TabGen, TabAlert);
			TaskAlertManager(TabGen, &i_led);

			Flag[F_100HZ] = 1;
		}
	}
}

void HAL_UART_RxCpltCallback(UART_HandleTypeDef *huart)
{ // fonction d'interruption qui s'execute chaque 50 caract�re qui se mettent dans Rx_datagps[]
//TaskUARTMessage(TabGen, WifiName, TabDist, TabTimer, huart);
}

/**
 * @brief  FLASH end of operation interrupt callback.
 * @param  ReturnValue: The value saved in this parameter depends on the ongoing procedure
 *                  Mass Erase: Bank number which has been requested to erase
 *                  Page Erase: Page which has been erased
 *                    (if 0xFFFFFFFF, it means that all the selected pages have been erased)
 *                  Program: Address which was selected for data program
 * @retval None
 */
void HAL_FLASH_EndOfOperationCallback(uint32_t ReturnValue)
{
	/* Call CleanUp callback when all requested pages have been erased */
	if (ReturnValue == 0xFFFFFFFF)
	{
		EE_EndOfCleanup_UserCallback();
	}
}

/**
 * @brief  Clean Up end of operation interrupt callback.
 * @param  None
 * @retval None
 */
void EE_EndOfCleanup_UserCallback(void)
{
	ErasingOnGoing = 0;

}

void vibration_LBL(uint8_t nb_de_vibration, unsigned short pause_vib,
		unsigned short duree_vib)
{
	while (nb_de_vibration > 0)
	{
		PowerVib(duree_vib);
		HAL_Delay(pause_vib);
		nb_de_vibration--;
	}
}

#define DFU_BOOTLOADER_ADD 0x1FFF0000U

extern PCD_HandleTypeDef hpcd;
typedef void (*pFunction)(void);
pFunction JumpToApplication;
uint32_t JumpAddress;

void jumpToBootloader(void)
{

	/* Test if user code is programmed starting from address 0x0800C000 */
	/*if(((*(__IO uint32_t*)DFU_BOOTLOADER_ADD) & 0x2FFE0000 ) == 0x20000000)*/
	/* Jump to user application */

	HAL_RCC_DeInit();

	SysTick->CTRL = 0;
	SysTick->LOAD = 0;
	SysTick->VAL = 0;

	__disable_irq();

	__HAL_SYSCFG_REMAPMEMORY_SYSTEMFLASH();

	JumpAddress = *(__IO uint32_t*) (DFU_BOOTLOADER_ADD + 4);
	JumpToApplication = (pFunction) JumpAddress;

	/* Initialize user application's Stack Pointer */
	__set_MSP(*(__IO uint32_t*) 0x08000000);
	JumpToApplication();
}
/* USER CODE END 4 */

void Error_Handler(void)
{
}

/************************ (C) COPYRIGHT STMicroelectronics *****END OF FILE****/
